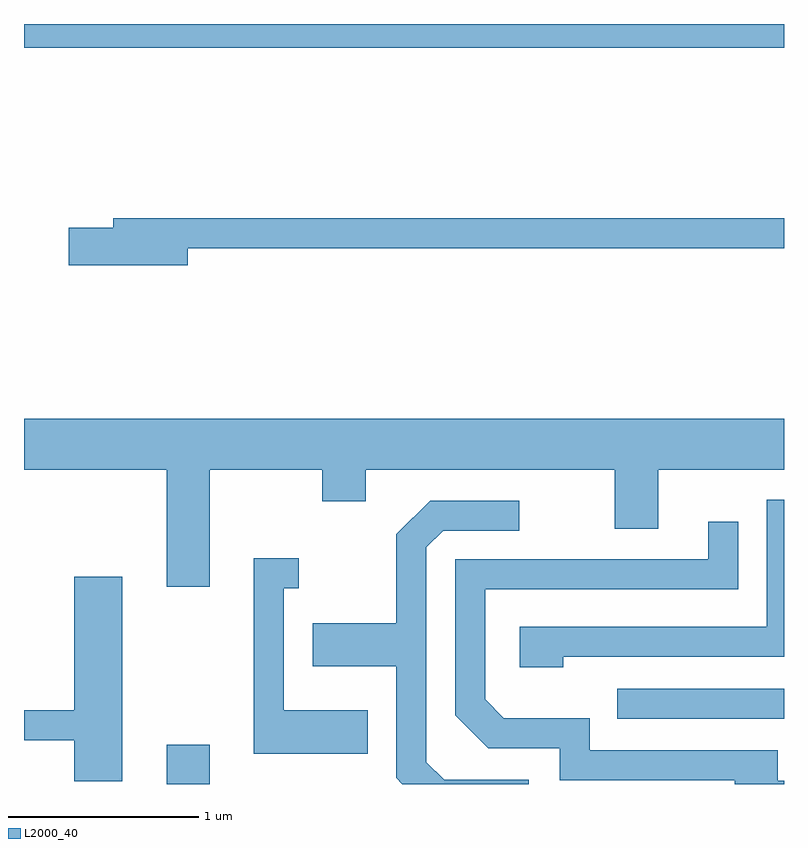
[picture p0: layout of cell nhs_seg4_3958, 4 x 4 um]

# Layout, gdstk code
import gdstk
lib = gdstk.Library(unit=1e-6, precision=1e-09)
def R(c, l, rs):  # rectangles x0, y0, x1, y1
    for r in rs: c.add(gdstk.rectangle(r[:2], r[2:], *l))
def P(c, l, *ps):  # polygons
    for p in ps: c.add(gdstk.Polygon(p, *l))
L2000_40 = (2000, 40)

nhs_seg4_3958 = lib.new_cell('nhs_seg4_3958')
R(nhs_seg4_3958, L2000_40, [(302.361,1281.982,302.589,1282.189), (304.733,1282.326,305.611,1282.484), (301.611,1285.856,305.611,1285.982)])
P(nhs_seg4_3958, L2000_40, [(302.474,1284.801),(305.611,1284.801),(305.611,1284.959),(302.081,1284.959),(302.081,1284.909),(301.846,1284.909),(301.846,1284.711),(302.474,1284.711)],
  [(302.589,1283.636),(303.181,1283.636),(303.181,1283.471),(303.409,1283.471),(303.409,1283.636),(304.721,1283.636),(304.721,1283.326),(304.949,1283.326),(304.949,1283.636),(305.611,1283.636),(305.611,1283.904),(301.611,1283.904),(301.611,1283.636),(302.361,1283.636),(302.361,1283.021),(302.589,1283.021)],
  [(304.449,1282.651),(305.611,1282.651),(305.611,1283.479),(305.521,1283.479),(305.521,1282.809),(304.221,1282.809),(304.221,1282.596),(304.449,1282.596)],
  [(304.268,1282.004),(303.822,1282.004),(303.729,1282.097),(303.729,1283.229),(303.817,1283.316),(304.218,1283.316),(304.218,1283.474),(303.749,1283.474),(303.571,1283.297),(303.571,1282.829),(303.131,1282.829),(303.131,1282.601),(303.571,1282.601),(303.571,1282.014),(303.603,1281.982),(304.268,1281.982)],
  [(305.611,1281.999),(305.579,1281.999),(305.579,1282.159),(304.589,1282.159),(304.589,1282.329),(304.137,1282.329),(304.039,1282.427),(304.039,1283.006),(305.369,1283.006),(305.369,1283.363),(305.211,1283.363),(305.211,1283.164),(303.881,1283.164),(303.881,1282.344),(304.054,1282.171),(304.431,1282.171),(304.431,1282.001),(305.351,1282.001),(305.351,1281.982),(305.611,1281.982)],
  [(303.419,1282.369),(302.979,1282.369),(302.979,1283.011),(303.058,1283.011),(303.058,1283.169),(302.821,1283.169),(302.821,1282.141),(303.419,1282.141)],
  [(302.129,1283.074),(301.876,1283.074),(301.876,1282.369),(301.611,1282.369),(301.611,1282.211),(301.876,1282.211),(301.876,1281.996),(302.129,1281.996)])

lib.write_gds('nhs_seg4_3958.gds')
